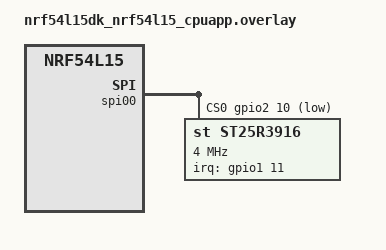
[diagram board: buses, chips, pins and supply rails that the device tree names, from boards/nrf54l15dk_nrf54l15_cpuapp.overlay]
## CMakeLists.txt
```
# Copyright (c) 2026 Bruce Fitzsimons
# SPDX-License-Identifier: Apache-2.0
cmake_minimum_required(VERSION 3.20.0)

# Make the enclosing module available without requiring a west-manifest
# entry: building this sample standalone wires the module in itself.
list(APPEND ZEPHYR_EXTRA_MODULES ${CMAKE_CURRENT_SOURCE_DIR}/../..)

find_package(Zephyr REQUIRED HINTS $ENV{ZEPHYR_BASE})
project(st25r3916_identity LANGUAGES C)

target_sources(app PRIVATE src/main.c)
```

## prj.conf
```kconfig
# zephyr-st25r3916 identity sample.

CONFIG_GPIO=y
CONFIG_SPI=y

CONFIG_ST25R3916=y
# The ElecHouse Mini module carries a ST25R3916B; flip to
# CONFIG_ST25R3916_VARIANT_BASE for a non-B chip.
CONFIG_ST25R3916_VARIANT_B=y

CONFIG_LOG=y
CONFIG_LOG_MODE_IMMEDIATE=y

# RTT console: on the nRF54L15 DK the VCOM UART produced zero bytes in bench
# testing while RTT worked first try (see the OffGridGate firmware notes);
# RTT also needs no extra cable beyond the debug probe. Read it with e.g.:
#   probe-rs attach --chip nRF54L15 build/zephyr/zephyr.elf
CONFIG_USE_SEGGER_RTT=y
CONFIG_RTT_CONSOLE=y
CONFIG_UART_CONSOLE=n
CONFIG_LOG_BACKEND_RTT=y
```

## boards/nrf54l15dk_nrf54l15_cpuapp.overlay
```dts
/*
 * Copyright (c) 2026 Bruce Fitzsimons
 * SPDX-License-Identifier: Apache-2.0
 *
 * nRF54L15 DK wiring for the identity sample — PROVISIONAL, chosen to be
 * defensible on this DK, not a blessed pinout. It matches the OffGridGate
 * project's DK reader mapping so a bench set up for one serves both.
 *
 *   DK pin     signal   ElecHouse ST25R3916B Mini pin
 *   ---------  -------  -----------------------------------------
 *   P2.01      SCK      SCLK/SCL   (spi00 default pinctrl)
 *   P2.02      MOSI     MOSI       (spi00 default pinctrl)
 *   P2.04      MISO     MISO/SDA   (spi00 default pinctrl)
 *   P2.10      CS       CS         (active low)
 *   P1.11      IRQ      IRQ        (active high)
 *   5V         supply   5V   — the module wants a 5 V supply; its logic
 *                              lines are 3.3 V-compatible
 *   GND        ground   GND
 *
 * The module's connector order is: IRQ, CS, SCLK/SCL, MOSI, MISO/SDA, 5V, GND.
 *
 * HARD CONSTRAINT, proven on real silicon: the IRQ line must be on port P0
 * or P1. The nRF54L15 has GPIOTE instances for P0 (gpiote30) and P1
 * (gpiote20) only — port P2 pins cannot generate GPIO interrupts, and
 * gpio_pin_interrupt_configure() on a P2 pin fails at run time with
 * -ENOTSUP. SPI signals and the CS output on P2 are fine (no GPIOTE
 * involved). P1.11 is genuinely unassigned on this DK (P1.08/09/13 are
 * buttons, P1.10/14 are LEDs, P1.04-07 are the VCOM UART).
 */

&spi00 {
	status = "okay";
	cs-gpios = <&gpio2 10 GPIO_ACTIVE_LOW>;

	st25r3916: st25r3916@0 {
		compatible = "st,st25r3916";
		reg = <0>;
		/* Conservative for flying leads; the chip itself is good to
		 * 10 MHz.
		 */
		spi-max-frequency = <4000000>;
		irq-gpios = <&gpio1 11 GPIO_ACTIVE_HIGH>;
	};
};
```

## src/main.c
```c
/*
 * Copyright (c) 2026 Bruce Fitzsimons
 *
 * SPDX-License-Identifier: Apache-2.0
 *
 * First-light test for an ST25R3916/ST25R3916B on SPI: read the IC identity
 * register and report what answered. This deliberately proves the wiring
 * layers one at a time, before any RF/protocol work:
 *
 *   1. raw register read   — proves power, SPI signals and chip select
 *   2. chip initialisation — proves the IRQ line too (oscillator-stable is
 *                            signalled by interrupt)
 *
 * With nothing wired, both stages fail cleanly and the loop retries — so it
 * doubles as a live wiring-debug tool: watch the log while plugging leads.
 */

#include <zephyr/kernel.h>
#include <zephyr/logging/log.h>

#include "st25r3916_zephyr.h"
#include "st25r3916.h"
#include "st25r3916_com.h"
#include "rfal_nfc.h"

LOG_MODULE_REGISTER(identity, LOG_LEVEL_INF);

static const char *ic_type_name(uint8_t identity)
{
	switch (identity & ST25R3916_REG_IC_IDENTITY_ic_type_mask) {
	case ST25R3916_REG_IC_IDENTITY_ic_type_st25r3916:
		return "ST25R3916";
	case ST25R3916_REG_IC_IDENTITY_ic_type_st25r3916B:
		return "ST25R3916B";
	default:
		return NULL;
	}
}

int main(void)
{
	LOG_INF("zephyr-st25r3916 identity sample (WIP driver, %s variant build)",
		IS_ENABLED(CONFIG_ST25R3916_VARIANT_B) ? "ST25R3916B" : "ST25R3916");

	int rc = st25r3916_zephyr_init();

	if (rc != 0) {
		LOG_ERR("platform init failed (%d) — check the board overlay", rc);
		return 0;
	}

	while (true) {
		uint8_t identity = 0;

		/* Stage 1: raw identity register over SPI. An absent, unpowered
		 * or miswired chip reads as 0x00 or 0xFF (bus idle/floating).
		 */
		st25r3916ReadRegister(ST25R3916_REG_IC_IDENTITY, &identity);

		const char *name = ic_type_name(identity);

		if (name == NULL) {
			LOG_ERR("no ST25R3916/B on the bus: IC_IDENTITY read 0x%02x "
				"(0x00/0xFF = no chip answering — check power, "
				"wiring, CS polarity)", identity);
			k_sleep(K_SECONDS(3));
			continue;
		}

		LOG_INF("stage 1 PASS: %s answered (IC_IDENTITY=0x%02x, silicon rev %u)",
			name, identity,
			identity & ST25R3916_REG_IC_IDENTITY_ic_rev_mask);

		/* Stage 2: full RFAL initialisation. This runs the chip init
		 * internally (which only accepts the variant this image was
		 * compiled for — CONFIG_ST25R3916_VARIANT_*), starts the
		 * oscillator (completion is signalled by interrupt, so success
		 * proves the IRQ path end-to-end), and loads the analog
		 * configuration table.
		 */
		rc = (int)rfalNfcInitialize();
		if (rc != 0) {
			LOG_ERR("stage 2 FAIL: rfalNfcInitialize() = %d — SPI works "
				"but chip/RFAL bring-up failed (IRQ line wired? "
				"variant mismatch between build and silicon?)", rc);
			k_sleep(K_SECONDS(3));
			continue;
		}

		LOG_INF("stage 2 PASS: RFAL initialised, oscillator stable, IRQ line live");
		LOG_INF("identity check complete — this hardware is ready for RFAL bring-up");
		break;
	}

	/* Park quietly; re-run by resetting. */
	return 0;
}
```
